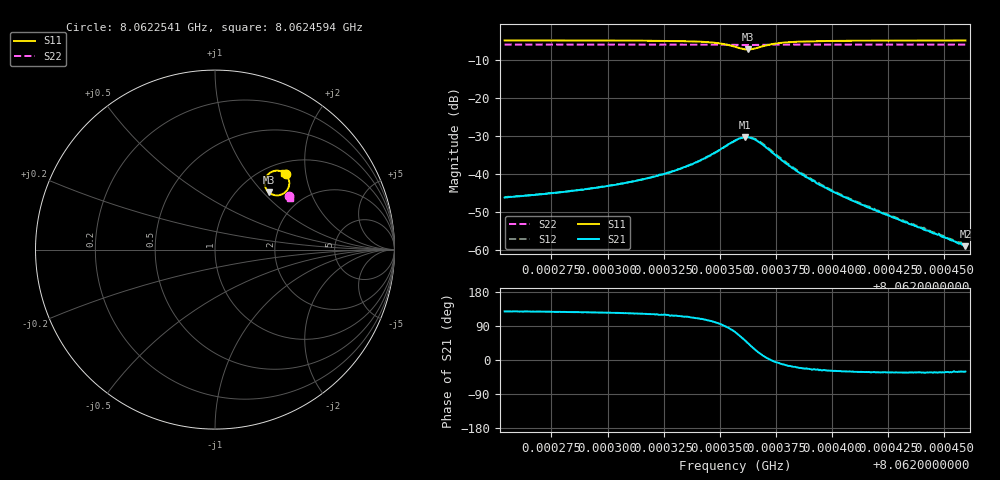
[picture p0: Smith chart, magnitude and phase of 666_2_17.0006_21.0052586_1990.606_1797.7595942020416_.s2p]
#  HZ  S  RI  R  50.00
! Rohde & Schwarz Vector Network Analyzer
! Rohde-Schwarz,ZNB20-2Port,1311601062101988,3.16
! Created: UTC 3/20/2024, 11:21:58 PM
! freq[Hz]  re:S11  im:S11  re:S21  im:S21  re:S12  im:S12  re:S22  im:S22
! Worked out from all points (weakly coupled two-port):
!   401 points, 8.0622541 GHz to 8.0624594 GHz, reference 50 ohm
!   highest |S21| = -30.31 dB at 8.0623614 GHz (marker M1); lowest = -59.0 dB at 8.0624594 GHz (marker M2)
!   lowest |S11| = -7.2 dB at 8.0623624 GHz (marker M3), VSWR 2.56, Z = 68.1 + j53.9 ohm
!   |S11| at or under -10 dB: nowhere
!   |S22| runs from -6.0 to -5.9 dB; largest |S21 - S12| = 0.0012
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8.06225411e9  0.3947 0.4191  -0.00302 0.00384  -0.00282 0.00402  0.4128 0.2973
8.0622885e9  0.4003 0.4123  -0.00363 0.005  -0.00336 0.00524  0.4141 0.2955
8.06230749e9  0.4045 0.4059  -0.00418 0.00631  -0.0038 0.00655  0.4147 0.2941
8.06231827e9  0.4076 0.3998  -0.0046 0.00756  -0.00416 0.00784  0.4152 0.2931
8.06232289e9  0.4093 0.3964  -0.00475 0.00852  -0.0043 0.0086  0.4153 0.2928
8.06232854e9  0.4111 0.3908  -0.00502 0.00945  -0.00446 0.00981  0.4155 0.2924
8.0623388e9  0.4139 0.3745  -0.00504 0.0131  -0.00434 0.0133  0.4158 0.2912
8.06234496e9  0.4127 0.3575  -0.00436 0.0167  -0.00333 0.0167  0.4156 0.2901
8.0623501e9  0.4047 0.3363  -0.00183 0.0208  -0.000939 0.0206  0.4152 0.2892
8.06235677e9  0.3648 0.305  0.00751 0.0266  0.00829 0.026  0.4136 0.288
8.06235933e9  0.3356 0.3027  0.014 0.0262  0.0145 0.0258  0.4123 0.288
8.06236139e9  0.3107 0.3114  0.0192 0.0237  0.0197 0.0235  0.4113 0.2887
8.06236241e9  0.2993 0.3195  0.0214 0.0216  0.022 0.0215  0.4108 0.289
8.06236447e9  0.2828 0.3416  0.0245 0.0163  0.0252 0.0163  0.4105 0.2899
8.06236703e9  0.2763 0.3719  0.0251 0.00955  0.0261 0.00935  0.4105 0.2913
8.06237371e9  0.2995 0.4223  0.0188 -0.000889  0.0195 -0.00159  0.4124 0.2929
8.06238295e9  0.3336 0.4387  0.0112 -0.00366  0.0112 -0.00428  0.4145 0.2929
8.06239116e9  0.3506 0.4396  0.00727 -0.00352  0.00749 -0.00386  0.4155 0.2923
8.06239424e9  0.355 0.4391  0.00645 -0.0033  0.00664 -0.00368  0.4157 0.2921
8.06240502e9  0.3659 0.4366  0.00435 -0.00251  0.00433 -0.00283  0.4166 0.2913
8.06242555e9  0.3767 0.4321  0.00235 -0.00151  0.00232 -0.00167  0.4178 0.29
8.06245943e9  0.3855 0.4271  0.000961 -0.000567  0.000945 -0.000635  0.419 0.2879
